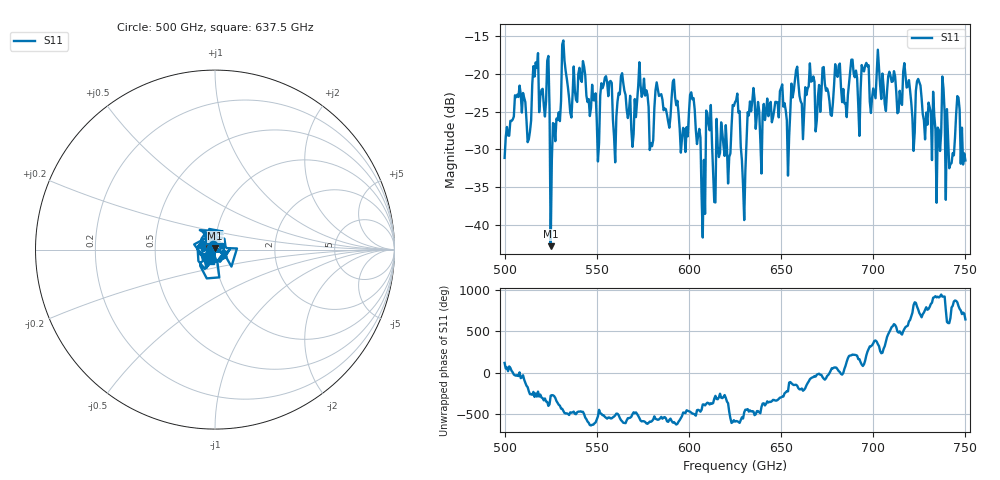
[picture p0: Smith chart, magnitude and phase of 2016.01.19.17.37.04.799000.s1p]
!Created with skrf (http://scikit-rf.org).
# GHz S RI R 50.0
!freq ReS11 ImS11
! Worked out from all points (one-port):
!   401 points, 500 GHz to 750 GHz, reference 50 ohm
!   lowest |S11| = -42.8 dB at 525 GHz (marker M1), VSWR 1.01, Z = 50.1 + j0.708 ohm
!   |S11| at or under -10 dB: start of sweep to end of sweep
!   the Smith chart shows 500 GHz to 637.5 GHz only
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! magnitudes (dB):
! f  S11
! 500 GHz  -31.1
! 506.9 GHz  -22.7
! 513.1 GHz  -28.7
! 516.9 GHz  -18.5
! 525 GHz  -42.8
! 531.2 GHz  -16.1
! 550 GHz  -26.2
! 562.5 GHz  -22.7
! 570 GHz  -28.0
! 574.4 GHz  -23.0
! 579.4 GHz  -29.2
! 583.1 GHz  -22.0
! 593.8 GHz  -23.6
! 596.9 GHz  -27.1
! 601.9 GHz  -23.4
! 607.5 GHz  -41.7
! 610.6 GHz  -26.7
! 614.4 GHz  -37.0
! 625 GHz  -23.8
! 629.4 GHz  -34.8
! 634.4 GHz  -23.6
! 653.8 GHz  -33.5
! 656.2 GHz  -23.1
! 687.5 GHz  -19.6
! 718.8 GHz  -21.7
! 742.5 GHz  -31.8
! 745.6 GHz  -22.9
! 750 GHz  -31.5
